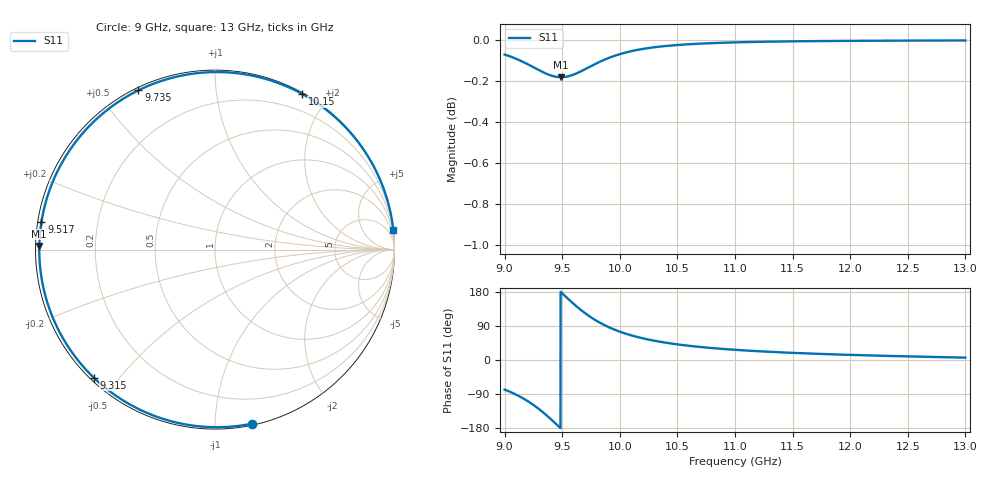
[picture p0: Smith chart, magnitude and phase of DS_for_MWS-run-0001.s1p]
! TOUCHSTONE file generated by CST DESIGN STUDIO
! Date and time: Tue Feb  4 17:28:37 2025
! Project name: C:\Work\MatlabApps\UnitCellOptimizationMatlab\CST\unitcell.cst
! Tree item: Tasks\Sweep1\SPara1\S-Parameters
! Header version: 2024
! Port assignment regex: !\s*Touchstone port\s*([0-9]+)\s*=\s*(CST MWS port|CST DES external port|CST DES block port)\s*(.+)\s* \(\"(.*)\"\)(\s*mode\s*([0-9]+))?.*
! Touchstone port assignment:
! Touchstone port 1 = CST DES external port 1 ("")
# GHz S MA R 50
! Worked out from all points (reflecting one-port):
!   4001 points, 9 GHz to 13 GHz, reference 50 ohm
!   lowest |S11| = -0.2 dB at 9.49 GHz (marker M1), VSWR 94.78, Z = 0.528 + j0.536 ohm
!   phase of S11 starts at -78 deg and turns -276 deg over the sweep
!   S11 on the Smith chart (normalised r, x): 9 GHz: 0.01, -1.23; 9.315 GHz: 0.01, -0.43; 9.517 GHz: 0.01, +0.08; 9.735 GHz: 0.01, +0.63; 10.15 GHz: 0.01, +1.71; 13 GHz: 0, +18
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9  0.9916 -78.1
9.08  0.9898 -88.5
9.18  0.9869 -104.7
9.25  0.9846 -118.5
9.315  0.9824 -133.5
9.361  0.9811 -145.1
9.41  0.9799 -158.4
9.451  0.9793 -170.0
9.49  0.9791 178.8
9.5  0.9791 175.9
9.517  0.9792 171.0
9.57  0.9799 156.0
9.63  0.9814 140.1
9.682  0.983 127.3
9.735  0.9847 115.7
9.789  0.9865 105.1
9.849  0.9883 94.8
9.924  0.9902 83.9
10  0.9919 74.8
10.152  0.9942 60.7
10.31  0.9958 50.3
10.5  0.9969 41.2
10.722  0.9978 33.6
11  0.9984 26.9
11.5  0.999 18.8
12  0.9992 13.5
12.5  0.9994 9.5
13  0.9995 6.2
